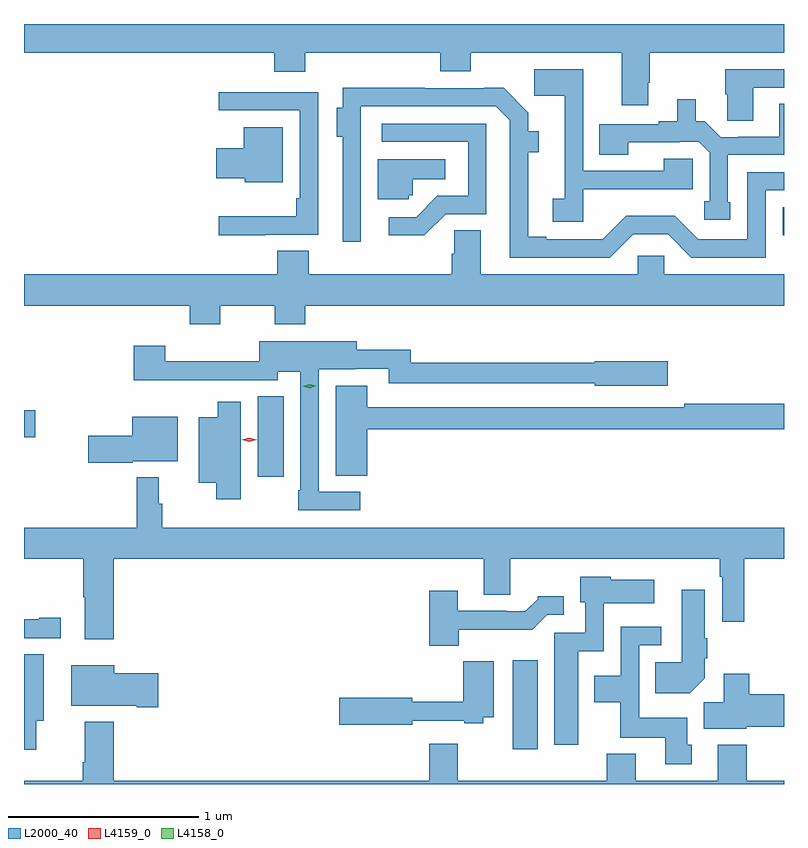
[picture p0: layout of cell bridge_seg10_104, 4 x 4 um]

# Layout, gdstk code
import gdstk
lib = gdstk.Library(unit=1e-6, precision=1e-09)
def R(c, l, rs):  # rectangles x0, y0, x1, y1
    for r in rs: c.add(gdstk.rectangle(r[:2], r[2:], *l))
def P(c, l, *ps):  # polygons
    for p in ps: c.add(gdstk.Polygon(p, *l))
L2000_40 = (2000, 40)
L4158_0 = (4158, 0)
L4159_0 = (4159, 0)

bridge_seg10_104 = lib.new_cell('bridge_seg10_104')
R(bridge_seg10_104, L2000_40, [(481.712,1256.688,481.843,1257.157), (480.368,1258.122,480.505,1258.547), (479.139,1258.33,479.197,1258.472), (483.132,1259.394,483.139,1259.541)])
P(bridge_seg10_104, L2000_40, [(482.425,1260.196),(482.433,1260.196),(482.433,1260.356),(483.139,1260.356),(483.139,1260.506),(479.139,1260.506),(479.139,1260.356),(480.455,1260.356),(480.455,1260.254),(480.62,1260.254),(480.62,1260.356),(481.331,1260.356),(481.331,1260.257),(481.491,1260.257),(481.491,1260.356),(482.285,1260.356),(482.285,1260.078),(482.425,1260.078)],
  [(482.082,1259.636),(482.549,1259.636),(482.549,1259.637),(482.659,1259.637),(482.659,1259.798),(482.506,1259.798),(482.506,1259.733),(482.082,1259.733),(482.082,1260.268),(481.824,1260.268),(481.824,1260.129),(481.985,1260.129),(481.985,1259.586),(481.923,1259.586),(481.923,1259.466),(482.082,1259.466)],
  [(482.977,1260.171),(483.139,1260.171),(483.139,1260.267),(482.83,1260.267),(482.83,1260.135),(482.839,1260.135),(482.839,1259.998),(482.977,1259.998)],
  [(482.346,1259.4),(482.529,1259.4),(482.652,1259.277),(483.042,1259.277),(483.042,1259.631),(483.139,1259.631),(483.139,1259.727),(482.946,1259.727),(482.946,1259.373),(482.688,1259.373),(482.564,1259.497),(482.31,1259.497),(482.186,1259.373),(481.888,1259.373),(481.888,1259.386),(481.792,1259.386),(481.792,1259.832),(481.849,1259.832),(481.849,1259.942),(481.793,1259.942),(481.793,1260.04),(481.663,1260.17),(481.562,1260.17),(481.562,1260.168),(481.247,1260.168),(481.247,1260.17),(480.816,1260.17),(480.816,1260.064),(480.785,1260.064),(480.785,1259.912),(480.816,1259.912),(480.816,1259.361),(480.912,1259.361),(480.912,1260.072),(481.623,1260.072),(481.695,1260),(481.695,1259.277),(482.223,1259.277)],
  [(480.409,1259.397),(480.687,1259.397),(480.687,1260.147),(480.165,1260.147),(480.165,1260.051),(480.591,1260.051),(480.591,1259.59),(480.571,1259.59),(480.571,1259.494),(480.165,1259.494),(480.165,1259.393),(480.409,1259.393)],
  [(482.857,1259.568),(482.844,1259.568),(482.844,1259.817),(483.139,1259.817),(483.139,1260.086),(483.113,1260.086),(483.113,1259.913),(482.899,1259.913),(482.899,1259.91),(482.805,1259.91),(482.721,1259.994),(482.674,1259.994),(482.674,1260.109),(482.576,1260.109),(482.576,1259.994),(482.48,1259.994),(482.48,1259.979),(482.167,1259.979),(482.167,1259.818),(482.319,1259.818),(482.319,1259.883),(482.591,1259.883),(482.591,1259.886),(482.691,1259.886),(482.748,1259.829),(482.748,1259.574),(482.718,1259.574),(482.718,1259.475),(482.857,1259.475)],
  [(481.359,1259.505),(481.572,1259.505),(481.572,1259.982),(481.023,1259.982),(481.023,1259.886),(481.476,1259.886),(481.476,1259.601),(481.314,1259.601),(481.203,1259.49),(481.059,1259.49),(481.059,1259.393),(481.246,1259.393)],
  [(480.502,1259.962),(480.296,1259.962),(480.296,1259.851),(480.15,1259.851),(480.15,1259.693),(480.3,1259.693),(480.3,1259.672),(480.502,1259.672)],
  [(481.164,1259.604),(481.185,1259.604),(481.185,1259.69),(481.357,1259.69),(481.357,1259.794),(481.001,1259.794),(481.001,1259.583),(481.164,1259.583)],
  [(480.171,1259.024),(480.46,1259.024),(480.46,1258.925),(480.62,1258.925),(480.62,1259.024),(483.139,1259.024),(483.139,1259.188),(482.508,1259.188),(482.508,1259.286),(482.37,1259.286),(482.37,1259.188),(481.543,1259.188),(481.543,1259.42),(481.404,1259.42),(481.404,1259.297),(481.391,1259.297),(481.391,1259.188),(480.638,1259.188),(480.638,1259.312),(480.473,1259.312),(480.473,1259.188),(479.139,1259.188),(479.139,1259.024),(480.011,1259.024),(480.011,1258.925),(480.171,1258.925)],
  [(480.91,1258.044),(480.69,1258.044),(480.69,1258.688),(480.885,1258.688),(480.885,1258.692),(481.059,1258.692),(481.059,1258.614),(482.142,1258.614),(482.142,1258.601),(482.527,1258.601),(482.527,1258.731),(482.142,1258.731),(482.142,1258.723),(481.175,1258.723),(481.175,1258.791),(480.889,1258.791),(480.889,1258.837),(480.378,1258.837),(480.378,1258.73),(479.882,1258.73),(479.882,1258.813),(479.717,1258.813),(479.717,1258.631),(479.965,1258.631),(479.965,1258.632),(480.474,1258.632),(480.474,1258.676),(480.594,1258.676),(480.594,1258.051),(480.582,1258.051),(480.582,1257.948),(480.91,1257.948)],
  [(480.946,1258.372),(483.139,1258.372),(483.139,1258.508),(482.614,1258.508),(482.614,1258.488),(480.946,1258.488),(480.946,1258.603),(480.779,1258.603),(480.779,1258.129),(480.946,1258.129)],
  [(480.28,1258.519),(480.158,1258.519),(480.158,1258.435),(480.059,1258.435),(480.059,1258.091),(480.151,1258.091),(480.151,1258.005),(480.28,1258.005)],
  [(479.712,1258.205),(479.947,1258.205),(479.947,1258.438),(479.708,1258.438),(479.708,1258.34),(479.478,1258.34),(479.478,1258.198),(479.712,1258.198)],
  [(479.612,1257.692),(481.559,1257.692),(481.559,1257.502),(481.699,1257.502),(481.699,1257.692),(482.802,1257.692),(482.802,1257.596),(482.814,1257.596),(482.814,1257.36),(482.93,1257.36),(482.93,1257.692),(483.139,1257.692),(483.139,1257.856),(479.867,1257.856),(479.867,1257.98),(479.849,1257.98),(479.849,1258.12),(479.732,1258.12),(479.732,1257.856),(479.139,1257.856),(479.139,1257.692),(479.452,1257.692),(479.452,1257.488),(479.459,1257.488),(479.459,1257.267),(479.612,1257.267)],
  [(482.056,1257.206),(482.19,1257.206),(482.19,1257.458),(482.455,1257.458),(482.455,1257.58),(482.226,1257.58),(482.226,1257.598),(482.066,1257.598),(482.066,1257.462),(482.094,1257.462),(482.094,1257.303),(481.931,1257.303),(481.931,1256.712),(482.056,1256.712)],
  [(482.722,1257.062),(482.722,1257.169),(482.735,1257.169),(482.735,1257.272),(482.722,1257.272),(482.722,1257.529),(482.6,1257.529),(482.6,1257.148),(482.461,1257.148),(482.461,1256.984),(482.644,1256.984)],
  [(481.426,1257.318),(481.815,1257.318),(481.893,1257.396),(481.981,1257.396),(481.981,1257.493),(481.842,1257.493),(481.842,1257.478),(481.778,1257.414),(481.679,1257.414),(481.679,1257.417),(481.423,1257.417),(481.423,1257.523),(481.271,1257.523),(481.271,1257.233),(481.426,1257.233)],
  [(479.332,1257.382),(479.219,1257.382),(479.219,1257.372),(479.139,1257.372),(479.139,1257.273),(479.332,1257.273)],
  [(482.653,1256.712),(482.629,1256.712),(482.629,1256.854),(482.376,1256.854),(482.376,1257.237),(482.494,1257.237),(482.494,1257.333),(482.28,1257.333),(482.28,1257.076),(482.141,1257.076),(482.141,1256.936),(482.278,1256.936),(482.278,1256.75),(482.513,1256.75),(482.513,1256.61),(482.653,1256.61)],
  [(479.203,1256.84),(479.242,1256.84),(479.242,1257.188),(479.139,1257.188),(479.139,1256.685),(479.203,1256.685)],
  [(481.182,1256.838),(481.457,1256.838),(481.457,1256.826),(481.557,1256.826),(481.557,1256.858),(481.612,1256.858),(481.612,1257.151),(481.45,1257.151),(481.45,1256.939),(481.182,1256.939),(481.182,1256.96),(480.798,1256.96),(480.798,1256.818),(481.182,1256.818)],
  [(479.845,1257.089),(479.614,1257.089),(479.614,1257.13),(479.387,1257.13),(479.387,1256.918),(479.732,1256.918),(479.732,1256.911),(479.845,1256.911)],
  [(482.94,1256.807),(483.139,1256.807),(483.139,1256.978),(482.957,1256.978),(482.957,1257.085),(482.822,1257.085),(482.822,1256.936),(482.717,1256.936),(482.717,1256.798),(482.94,1256.798)],
  [(483.139,1256.524),(482.942,1256.524),(482.942,1256.713),(482.789,1256.713),(482.789,1256.524),(482.359,1256.524),(482.359,1256.665),(482.207,1256.665),(482.207,1256.524),(481.423,1256.524),(481.423,1256.719),(481.271,1256.719),(481.271,1256.524),(479.612,1256.524),(479.612,1256.833),(479.459,1256.833),(479.459,1256.62),(479.447,1256.62),(479.447,1256.524),(479.139,1256.524),(479.139,1256.506),(483.139,1256.506)])
P(bridge_seg10_104, L4158_0, [(480.642,1258.59),(480.607,1258.599),(480.607,1258.6),(480.607,1258.6),(480.641,1258.61),(480.676,1258.601),(480.676,1258.601),(480.676,1258.601)])
P(bridge_seg10_104, L4159_0, [(480.325,1258.308),(480.285,1258.317),(480.285,1258.317),(480.285,1258.317),(480.325,1258.328),(480.365,1258.319),(480.365,1258.319),(480.365,1258.319)])

lib.write_gds('bridge_seg10_104.gds')
